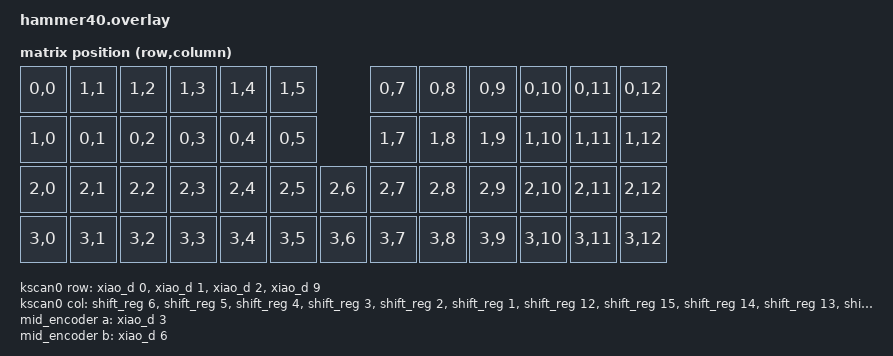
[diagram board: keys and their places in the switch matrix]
#include <dt-bindings/zmk/matrix_transform.h>

&xiao_spi {
    status = "okay";
    cs-gpios = <&xiao_d 7 GPIO_ACTIVE_LOW>;
    shift_reg: 74HC595@0 {
        compatible = "zmk,gpio-595";
        status = "okay";
        gpio-controller;
        spi-max-frequency = <200000>;
        reg = <0>;
        #gpio-cells = <2>;
        ngpios = <16>;
    };
};

&xiao_serial { status = "disabled"; };

&xiao_i2c {
    status = "okay";

    oled: ssd1306@3c {
        compatible = "solomon,ssd1306fb";
        reg = <0x3c>;
        width = <128>;
        height = <64>;
        segment-offset = <0>;
        page-offset = <0>;
        display-offset = <0>;
        multiplex-ratio = <63>;
        prechargep = <0x22>;
        segment-remap;
        com-invdir;
    };
};

/ {
    chosen {
        zephyr,display = &oled;
        zmk,kscan = &kscan0;
        zmk,matrix_transform = &default_transform;
    };

    kscan0: kscan_0 {
        compatible = "zmk,kscan-gpio-matrix";
        diode-direction = "col2row";

        col-gpios
            = <&shift_reg 6 (GPIO_ACTIVE_HIGH)>
            , <&shift_reg 5 (GPIO_ACTIVE_HIGH)>
            , <&shift_reg 4 (GPIO_ACTIVE_HIGH)>
            , <&shift_reg 3 (GPIO_ACTIVE_HIGH)>
            , <&shift_reg 2 (GPIO_ACTIVE_HIGH)>
            , <&shift_reg 1 (GPIO_ACTIVE_HIGH)>
            , <&shift_reg 12 (GPIO_ACTIVE_HIGH)>
            , <&shift_reg 15 (GPIO_ACTIVE_HIGH)>
            , <&shift_reg 14 (GPIO_ACTIVE_HIGH)>
            , <&shift_reg 13 (GPIO_ACTIVE_HIGH)>
            , <&shift_reg 11 (GPIO_ACTIVE_HIGH)>
            , <&shift_reg 10 (GPIO_ACTIVE_HIGH)>
            , <&shift_reg 9 (GPIO_ACTIVE_HIGH)>
            ;

        row-gpios
            = <&xiao_d 0 (GPIO_ACTIVE_HIGH | GPIO_PULL_DOWN)>
            , <&xiao_d 1 (GPIO_ACTIVE_HIGH | GPIO_PULL_DOWN)>
            , <&xiao_d 2 (GPIO_ACTIVE_HIGH | GPIO_PULL_DOWN)>
            , <&xiao_d 9 (GPIO_ACTIVE_HIGH | GPIO_PULL_DOWN)>
            ;
    };

    default_transform: keymap_transform_0 {
        compatible = "zmk,matrix-transform";
        columns = <13>;
        rows = <4>;
        map = <
            RC(0,0) RC(1,1) RC(1,2) RC(1,3) RC(1,4) RC(1,5)         RC(0,7) RC(0,8) RC(0,9) RC(0,10) RC(0,11) RC(0,12)
            RC(1,0) RC(0,1) RC(0,2) RC(0,3) RC(0,4) RC(0,5)         RC(1,7) RC(1,8) RC(1,9) RC(1,10) RC(1,11) RC(1,12)
            RC(2,0) RC(2,1) RC(2,2) RC(2,3) RC(2,4) RC(2,5) RC(2,6) RC(2,7) RC(2,8) RC(2,9) RC(2,10) RC(2,11) RC(2,12)
            RC(3,0) RC(3,1) RC(3,2) RC(3,3) RC(3,4) RC(3,5) RC(3,6) RC(3,7) RC(3,8) RC(3,9) RC(3,10) RC(3,11) RC(3,12)
        >;
    };

    mid_encoder: mid_encoder {
        compatible = "alps,ec11";
        a-gpios = <&xiao_d 3 (GPIO_ACTIVE_HIGH | GPIO_PULL_UP)>;
        b-gpios = <&xiao_d 6 (GPIO_ACTIVE_HIGH | GPIO_PULL_UP)>;
        steps = <80>;
        status = "okay";
    };

    sensors: sensors {
        compatible = "zmk,keymap-sensors";
        sensors = <&mid_encoder>;
        triggers-per-rotation = <20>;
    };
};
